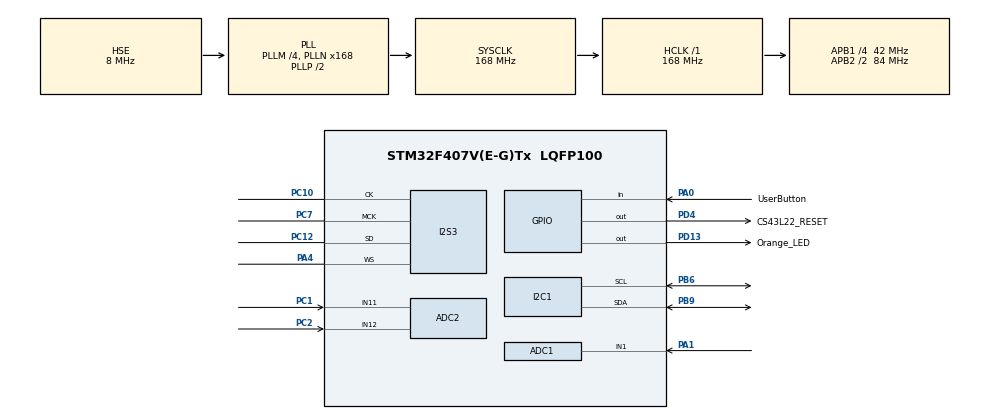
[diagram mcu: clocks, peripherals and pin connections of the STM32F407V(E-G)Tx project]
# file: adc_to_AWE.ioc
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ADC1.Channel-0\#ChannelRegularConversion=ADC_CHANNEL_1
ADC1.DMAContinuousRequests=ENABLE
ADC1.ExternalTrigConv=ADC_EXTERNALTRIGCONV_T2_TRGO
ADC1.NbrOfConversionFlag=1
ADC1.Rank-0\#ChannelRegularConversion=1
ADC1.SamplingTime-0\#ChannelRegularConversion=ADC_SAMPLETIME_84CYCLES
ADC1.master=1
ADC2.Channel-0\#ChannelRegularConversion=ADC_CHANNEL_11
ADC2.NbrOfConversionFlag=1
ADC2.Rank-0\#ChannelRegularConversion=1
ADC2.SamplingTime-0\#ChannelRegularConversion=ADC_SAMPLETIME_84CYCLES
Dma.ADC1.0.Direction=DMA_PERIPH_TO_MEMORY
Dma.ADC1.0.FIFOMode=DMA_FIFOMODE_ENABLE
Dma.ADC1.0.FIFOThreshold=DMA_FIFO_THRESHOLD_FULL
Dma.ADC1.0.Instance=DMA2_Stream0
Dma.ADC1.0.MemBurst=DMA_MBURST_SINGLE
Dma.ADC1.0.MemDataAlignment=DMA_MDATAALIGN_WORD
Dma.ADC1.0.MemInc=DMA_MINC_ENABLE
Dma.ADC1.0.Mode=DMA_CIRCULAR
Dma.ADC1.0.PeriphBurst=DMA_PBURST_SINGLE
Dma.ADC1.0.PeriphDataAlignment=DMA_PDATAALIGN_WORD
Dma.ADC1.0.PeriphInc=DMA_PINC_DISABLE
Dma.ADC1.0.Priority=DMA_PRIORITY_HIGH
Dma.Request0=ADC1
Dma.Request1=SPI3_TX
Dma.SPI3_TX.1.Direction=DMA_MEMORY_TO_PERIPH
Dma.SPI3_TX.1.FIFOMode=DMA_FIFOMODE_ENABLE
Dma.SPI3_TX.1.FIFOThreshold=DMA_FIFO_THRESHOLD_FULL
Dma.SPI3_TX.1.Instance=DMA1_Stream5
Dma.SPI3_TX.1.MemBurst=DMA_MBURST_SINGLE
Dma.SPI3_TX.1.MemDataAlignment=DMA_MDATAALIGN_HALFWORD
Dma.SPI3_TX.1.MemInc=DMA_MINC_ENABLE
Dma.SPI3_TX.1.Mode=DMA_CIRCULAR
Dma.SPI3_TX.1.PeriphBurst=DMA_PBURST_SINGLE
Dma.SPI3_TX.1.PeriphDataAlignment=DMA_PDATAALIGN_HALFWORD
Dma.SPI3_TX.1.PeriphInc=DMA_PINC_DISABLE
Dma.SPI3_TX.1.Priority=DMA_PRIORITY_LOW
I2S3.AudioFreq=I2S_AUDIOFREQ_48K
I2S3.DataFormat=I2S_DATAFORMAT_16B
I2S3.ErrorAudioFreq=1.72 %
I2S3.FullDuplexMode=I2S_FULLDUPLEXMODE_DISABLE
I2S3.Instance=SPI$Index
I2S3.RealAudioFreq=48.828 KHz
I2S3.VirtualMode=I2S_MODE_MASTER
Mcu.Family=STM32F4
Mcu.Name=STM32F407V(E-G)Tx
Mcu.Package=LQFP100
NVIC.DMA1_Stream5_IRQn=true\:0\:0\:false\:false\:true\:false\:true\:true
NVIC.DMA2_Stream0_IRQn=true\:0\:0\:false\:false\:true\:false\:true\:true
NVIC.PriorityGroup=NVIC_PRIORITYGROUP_0
PA0-WKUP.GPIO_Label=UserButton
PA0-WKUP.Signal=GPIO_Input
PA1.Signal=ADCx_IN1
PA4.Mode=Half_Duplex_Master
PA4.Signal=I2S3_WS
PB6.Mode=I2C
PB6.Signal=I2C1_SCL
PB9.Mode=I2C
PB9.Signal=I2C1_SDA
PC1.Signal=ADCx_IN11
PC10.Mode=Half_Duplex_Master
PC10.Signal=I2S3_CK
PC12.Mode=Half_Duplex_Master
PC12.Signal=I2S3_SD
PC2.Signal=ADCx_IN12
PC7.Mode=Master_Clock_Activated
PC7.Signal=I2S3_MCK
PD13.GPIO_Label=Orange_LED
PD13.Signal=GPIO_Output
PD4.GPIO_Label=CS43L22_RESET
PD4.Signal=GPIO_Output
PH0-OSC_IN.Mode=HSE-External-Oscillator
PH0-OSC_IN.Signal=RCC_OSC_IN
PH1-OSC_OUT.Mode=HSE-External-Oscillator
PH1-OSC_OUT.Signal=RCC_OSC_OUT
ProjectManager.HeapSize=0x200
ProjectManager.StackSize=0x400
ProjectManager.TargetToolchain=STM32CubeIDE
RCC.48MHZClocksFreq_Value=48000000
RCC.AHBFreq_Value=168000000
RCC.APB1CLKDivider=RCC_HCLK_DIV4
RCC.APB1Freq_Value=42000000
RCC.APB1TimFreq_Value=84000000
RCC.APB2CLKDivider=RCC_HCLK_DIV2
RCC.APB2Freq_Value=84000000
RCC.APB2TimFreq_Value=168000000
RCC.CortexFreq_Value=168000000
RCC.HCLKFreq_Value=168000000
RCC.HSE_VALUE=8000000
RCC.HSI_VALUE=16000000
RCC.LSE_VALUE=32768
RCC.PLLI2SN=50
RCC.PLLM=4
RCC.PLLN=168
RCC.PLLQ=7
RCC.PLLSourceVirtual=RCC_PLLSOURCE_HSE
RCC.SYSCLKFreq_VALUE=168000000
RCC.SYSCLKSource=RCC_SYSCLKSOURCE_PLLCLK
RCC.VCOOutputFreq_Value=336000000
SH.ADCx_IN1.0=ADC1_IN1,IN1
SH.ADCx_IN11.0=ADC2_IN11,IN11
SH.ADCx_IN12.0=ADC2_IN12,IN12
TIM2.Period=343
TIM2.Prescaler=4
TIM2.TIM_MasterOutputTrigger=TIM_TRGO_UPDATE
VP_TIM2_VS_ClockSourceINT.Mode=Internal
board=STM32F407G-DISC1

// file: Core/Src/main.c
/* USER CODE BEGIN Header */
/**
  ******************************************************************************
  * @file           : main.c
  * @brief          : Main program body
  ******************************************************************************
  * @attention
  *
  * Copyright (c) 2024 STMicroelectronics.
  * All rights reserved.
  *
  * This software is licensed under terms that can be found in the LICENSE file
  * in the root directory of this software component.
  * If no LICENSE file comes with this software, it is provided AS-IS.
  *
  ******************************************************************************
  */
/* USER CODE END Header */
#include "main.h"
#include "adc.h"
#include "dma.h"
#include "i2c.h"
#include "i2s.h"
#include "tim.h"
#include "gpio.h"

/* USER CODE BEGIN Includes */
#include "CS43L22.h"
#include <math.h>
#include <stdio.h>
#include <stdlib.h>

#include "aweCore.h"
#include "AWECoreUtils.h"
#include "STM32F407_PassThru_with_ControlIO.h"
#include "reverb_with_mux_ControlInterface.h"
#include "reverb_with_mux_InitAWB.h"
#include "platform_awe.h"

/* USER CODE END Includes */

/* USER CODE BEGIN PD */
#define N	AUDIO_BLOCK_SIZE

/* USER CODE END PD */

/* USER CODE BEGIN PV */
uint32_t adc_val[2*N];
uint16_t count;

float input_buffer[2*N];
float output_buffer[2*N];
float *input_buffer_ptr;
float *output_buffer_ptr;

uint16_t audio_buffer_out[4*N];
fract16 send_to_AWE_buffer[4*N];
INT16 receive_from_AWE_buffer[4*N];

volatile uint8_t adc_callback_state = 0;
volatile uint8_t i2s_callback_state = 0;

/** this AWE instance */
AWEInstance g_AWEInstance;

volatile BOOL g_bBlinkLED4ForBoardAlive = TRUE;

INT32 nLoopCount = 0;

// variable types are indicated in reverb_mux_ControlInterface.h
int user_button = 1;
int delay1Value = 2000;
float scaler1Gain = -3.0;

ADC_ChannelConfTypeDef sConfig2 = {0};
ADC_ChannelConfTypeDef sConfig3 = {0};

UINT32 potValue=0;
UINT32 potValue2=0;

float tot = 0.0;
float tot2 = 0.0;
int num = 0;
int num2 = 0;

UINT32 nErrorOffset;
INT32 nResult;

UINT32 classID;
INT32 nButtonState, nLED1State;

INT32 bAudioIsStarted;
INT32 bLayoutValid;

//uint32_t aa, bb, cc;

/* USER CODE END PV */

void SystemClock_Config(void);
/* USER CODE BEGIN PFP */
int __io_putchar(int ch);
/* USER CODE END PFP */

/* USER CODE BEGIN 0 */

void HAL_ADC_ConvHalfCpltCallback(ADC_HandleTypeDef *hadc)
{
	// first half of ADC buffer is full
	adc_callback_state = 1;
}

void HAL_ADC_ConvCpltCallback(ADC_HandleTypeDef *hadc)
{
	// second half of ADC buffer is full
	adc_callback_state = 2;
}

void HAL_I2S_TxHalfCpltCallback(I2S_HandleTypeDef *hi2s)
{
	// first half of I2S buffer full
	i2s_callback_state = 1;
}

void HAL_I2S_TxCpltCallback(I2S_HandleTypeDef *hi2s)
{
	// second half of I2S buffer full
	i2s_callback_state = 2;
}

/* USER CODE END 0 */

int main(void)
{

  /* MCU Configuration--------------------------------------------------------*/

  /* Reset of all peripherals, Initializes the Flash interface and the Systick. */
  HAL_Init();

  /* Configure the system clock */
  SystemClock_Config();

  /* Initialize all configured peripherals */
  MX_GPIO_Init();
  MX_DMA_Init();
  MX_TIM2_Init();
  MX_ADC1_Init();
  MX_I2C1_Init();
  MX_I2S3_Init();
  MX_ADC2_Init();
  /* USER CODE BEGIN 2 */
  AWEInstanceInit();
  CS43_Init(hi2c1, MODE_I2S);
  CS43_SetVolume(40); // 0 - 40
  CS43_Enable_RightLeft(CS43_RIGHT_LEFT);
  CS43_Start();

  HAL_TIM_Base_Start(&htim2);
  HAL_ADC_Start_DMA(&hadc1, (uint32_t *)adc_val, 2*N);
  HAL_I2S_Transmit_DMA(&hi2s3, (uint16_t *) audio_buffer_out, 4*N);

  nResult = awe_loadAWBfromArray(&g_AWEInstance, Instance0_InitCommands, Instance0_InitCommands_Len, &nErrorOffset);
  if (nResult != E_SUCCESS)
  {
      printf("awe_loadAWBfromArray failed\n");
  }
  /* USER CODE END 2 */

  /* Infinite loop */
  /* USER CODE BEGIN WHILE */
  while (1)
  {
      if (g_bBlinkLED4ForBoardAlive)
      {

          nLoopCount++;

          // total ADC inputs from a pot for averaging to get Scaler1 setting
          // this pot connected to pin PC1 (see adc.c)
          if(nLoopCount >= 1000 && nLoopCount < 1200) {
          	HAL_ADC_ConfigChannel(&hadc2, &sConfig2);
            HAL_ADC_Start(&hadc2);
          	HAL_ADC_PollForConversion(&hadc2,50); //Timeout is 50 msec
          	tot += HAL_ADC_GetValue(&hadc2);
          	num++;
          }

          // total ADC inputs from a second pot for averaging to get Delay1 setting
          // this pot connect to pin PC2 (see adc.c)
          if(nLoopCount >= 2000 && nLoopCount < 2200) {
          	HAL_ADC_ConfigChannel(&hadc2, &sConfig3);
            HAL_ADC_Start(&hadc2);
            HAL_ADC_PollForConversion(&hadc2,50); //Timeout is 50 msec
          	tot2 += HAL_ADC_GetValue(&hadc2);
          	num2++;
          }

          // compute averaged ADC input values
          if (nLoopCount == 62200) //at 168E6 MHz, this count equals approx 1 sec
          {
        	  potValue = (UINT32)(tot/num);
        	  potValue2 = (UINT32)(tot2/num2);
              // Indicate board running by toggling LED4
              HAL_GPIO_TogglePin(Orange_LED_GPIO_Port, Orange_LED_Pin);

              nLoopCount = 0;
              tot = 0.0;
              tot2 = 0.0;
              num = 0;
              num2 = 0;
          }
      }

      if (awe_ctrlGetModuleClass(&g_AWEInstance, AWE_Scaler1_gain_HANDLE, &classID) == OBJECT_FOUND)
      {
        // Check that module assigned this object ID is of module class Scaler1
      	if (classID == AWE_Scaler1_classID)
      	{
      		// convert ADC value to a scaler1Gain in dB between -24 and 24 as per ControlInterface.h
//            scaler1Gain=potValue/2400.0*48.0-24.0;
//            if(scaler1Gain < -24.0) scaler1Gain = -24.0;
//            if(scaler1Gain > 24.0) scaler1Gain = 24.0;
     		scaler1Gain = -3.0;
      		awe_ctrlSetValue(&g_AWEInstance, AWE_Scaler1_gain_HANDLE, (void *)&scaler1Gain, 0, 1);
      	}
      }

      if (awe_ctrlGetModuleClass(&g_AWEInstance, AWE_Delay1_currentDelay_HANDLE, &classID) == OBJECT_FOUND)
      {
        // Check that module assigned this object ID is of module class SinkInt
        if (classID == AWE_Delay1_classID)
        {
           // convert ADC value to a Delay1Value between 0 and 3000  per ControlInterface.h
//           delay1Value=(int)(potValue2/2400.0*3000.0);
//           if(delay1Value < 0) delay1Value = 0;
//           if(delay1Value > 3000) delay1Value = 3000;
          delay1Value = 2900;
          awe_ctrlSetValue(&g_AWEInstance, AWE_Delay1_currentDelay_HANDLE, (void *)&delay1Value, 0, 1);
        }
      }

      if (awe_ctrlGetModuleClass(&g_AWEInstance, AWE_Multiplexor1_index_HANDLE, &classID) == OBJECT_FOUND)
      {
      	// Check that module assigned this object ID is of module class SinkInt
      	if (classID == AWE_Multiplexor1_classID)
      	{
      	   // use this method to provide momentary change to no reverb
      	   // pushed button = 1, unpushed button = 0
           if(HAL_GPIO_ReadPin(UserButton_GPIO_Port, UserButton_Pin)==GPIO_PIN_SET)
           {
           	  user_button = 1;
           }
           else
           {
              user_button = 0;
           }
    	   awe_ctrlSetValue(&g_AWEInstance, AWE_Multiplexor1_index_HANDLE, (void *)&user_button, 0, 1);
      	}
      }

	  if(adc_callback_state != 0){
		  if (adc_callback_state == 1) { //buffer half full
			  for(int i = 0; i < N; i++){
	  			  input_buffer[i] = (float) adc_val[i];
	  			  // send ADC input value
				  send_to_AWE_buffer[2*i] = (fract16)input_buffer[i];
				  send_to_AWE_buffer[2*i+1] = (fract16)input_buffer[i];
			  }

		  }
		  else if (adc_callback_state == 2) { //buffer full
			  for(int i = N; i < 2*N; i++){
				  input_buffer[i]= (float) adc_val[i];
				  send_to_AWE_buffer[2*i] = (fract16) input_buffer[i];
				  send_to_AWE_buffer[2*i+1] = (fract16) input_buffer[i];
			  }

		  }
		  adc_callback_state = 0;
	  }

  	  if(i2s_callback_state != 0){
  	 	  if(i2s_callback_state == 1){

			  bAudioIsStarted = awe_audioIsStarted(&g_AWEInstance);
			  bLayoutValid = awe_layoutIsValid(&g_AWEInstance);

			  if(bAudioIsStarted && bLayoutValid) {
				  // left and right stereo
				  awe_audioImportSamples(&g_AWEInstance, (fract16 *) &send_to_AWE_buffer[0], STRIDE2, CHANNEL1, Sample16bit);
				  awe_audioImportSamples(&g_AWEInstance, (fract16 *) &send_to_AWE_buffer[1], STRIDE2, CHANNEL2, Sample16bit);

				  // pump inputs into AWE layout
				  awe_audioPump(&g_AWEInstance, 0);

				  // left and right stereo
				  awe_audioExportSamples(&g_AWEInstance,  (INT16 *) &receive_from_AWE_buffer[0], STRIDE2, CHANNEL1, Sample16bit);
				  awe_audioExportSamples(&g_AWEInstance,  (INT16 *) &receive_from_AWE_buffer[1], STRIDE2, CHANNEL2, Sample16bit);
			  }

  	  		  for(int i = 0; i < N; i++){
  	  			// left and right stereo
  	  		  	audio_buffer_out[2*i] = (uint16_t) receive_from_AWE_buffer[2*i];
  	  		  	audio_buffer_out[2*i+1] = (uint16_t) receive_from_AWE_buffer[2*i+1];
  	  		  }

  		  }
  	  	  else if(i2s_callback_state == 2) {

			  bAudioIsStarted = awe_audioIsStarted(&g_AWEInstance);
			  bLayoutValid = awe_layoutIsValid(&g_AWEInstance);

			  if(bAudioIsStarted && bLayoutValid) {
				  awe_audioImportSamples(&g_AWEInstance, (fract16 *) &send_to_AWE_buffer[2*AUDIO_BLOCK_SIZE], STRIDE2, CHANNEL1, Sample16bit);
				  awe_audioImportSamples(&g_AWEInstance, (fract16 *) &send_to_AWE_buffer[2*AUDIO_BLOCK_SIZE+1], STRIDE2, CHANNEL2, Sample16bit);

				  awe_audioPump(&g_AWEInstance, 0);

				  awe_audioExportSamples(&g_AWEInstance,  (INT16 *) &receive_from_AWE_buffer[2*AUDIO_BLOCK_SIZE], STRIDE2, CHANNEL1, Sample16bit);
				  awe_audioExportSamples(&g_AWEInstance,  (INT16 *) &receive_from_AWE_buffer[2*AUDIO_BLOCK_SIZE+1], STRIDE2, CHANNEL2, Sample16bit);
			  }

  	  		  for(int i = N; i < 2*N; i++){
  	  		  		audio_buffer_out[2*i] = (uint16_t) receive_from_AWE_buffer[2*i];
  	  		  		audio_buffer_out[2*i+1] = (uint16_t) receive_from_AWE_buffer[2*i+1];
  	  		  }

 		  }
  		  i2s_callback_state = 0;

  	  }
    /* USER CODE END WHILE */

  }
}

void SystemClock_Config(void)
{
  RCC_OscInitTypeDef RCC_OscInitStruct = {0};
  RCC_ClkInitTypeDef RCC_ClkInitStruct = {0};

  /** Configure the main internal regulator output voltage
  */
  __HAL_RCC_PWR_CLK_ENABLE();
  __HAL_PWR_VOLTAGESCALING_CONFIG(PWR_REGULATOR_VOLTAGE_SCALE1);

  /** Initializes the RCC Oscillators according to the specified parameters
  * in the RCC_OscInitTypeDef structure.
  */
  RCC_OscInitStruct.OscillatorType = RCC_OSCILLATORTYPE_HSE;
  RCC_OscInitStruct.HSEState = RCC_HSE_ON;
  RCC_OscInitStruct.PLL.PLLState = RCC_PLL_ON;
  RCC_OscInitStruct.PLL.PLLSource = RCC_PLLSOURCE_HSE;
  RCC_OscInitStruct.PLL.PLLM = 4;
  RCC_OscInitStruct.PLL.PLLN = 168;
  RCC_OscInitStruct.PLL.PLLP = RCC_PLLP_DIV2;
  RCC_OscInitStruct.PLL.PLLQ = 7;
  if (HAL_RCC_OscConfig(&RCC_OscInitStruct) != HAL_OK)
  {
    Error_Handler();
  }

  /** Initializes the CPU, AHB and APB buses clocks
  */
  RCC_ClkInitStruct.ClockType = RCC_CLOCKTYPE_HCLK|RCC_CLOCKTYPE_SYSCLK
                              |RCC_CLOCKTYPE_PCLK1|RCC_CLOCKTYPE_PCLK2;
  RCC_ClkInitStruct.SYSCLKSource = RCC_SYSCLKSOURCE_PLLCLK;
  RCC_ClkInitStruct.AHBCLKDivider = RCC_SYSCLK_DIV1;
  RCC_ClkInitStruct.APB1CLKDivider = RCC_HCLK_DIV4;
  RCC_ClkInitStruct.APB2CLKDivider = RCC_HCLK_DIV2;

  if (HAL_RCC_ClockConfig(&RCC_ClkInitStruct, FLASH_LATENCY_5) != HAL_OK)
  {
    Error_Handler();
  }
}

/* USER CODE BEGIN 4 */
int __io_putchar(int ch){
	ITM_SendChar(ch);
	return 0;
}

/* USER CODE END 4 */

void Error_Handler(void)
{
  __disable_irq();
  while (1)
  {
  }
}
